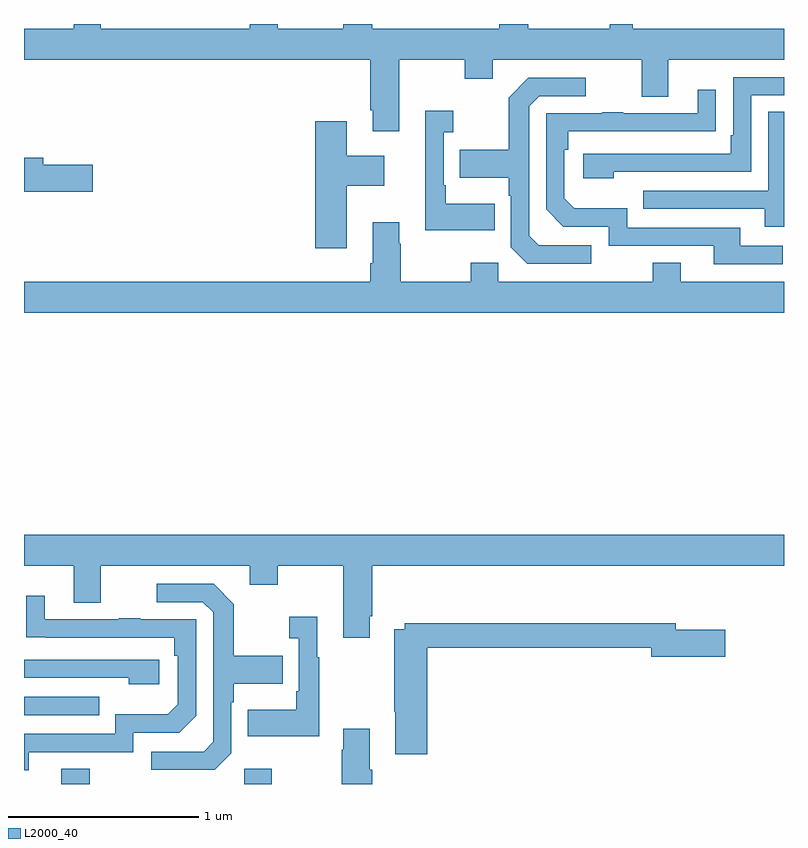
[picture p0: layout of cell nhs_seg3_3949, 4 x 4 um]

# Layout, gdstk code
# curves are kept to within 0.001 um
import gdstk
lib = gdstk.Library(unit=1e-6, precision=1e-09)
def R(c, l, rs):  # rectangles x0, y0, x1, y1
    for r in rs: c.add(gdstk.rectangle(r[:2], r[2:], *l))
def P(c, l, *ps):  # polygons
    for p in ps: c.add(gdstk.Polygon(p, *l))
L2000_40 = (2000, 40)

nhs_seg3_3949 = lib.new_cell('nhs_seg3_3949')
R(nhs_seg3_3949, L2000_40, [(315.197,734.4,315.345,734.479), (316.158,734.4,316.305,734.479), (315,734.763,315.395,734.859)])
P(nhs_seg3_3949, L2000_40, [(316.975,738.212),(317.32,738.212),(317.32,738.113),(317.467,738.113),(317.467,738.212),(318.251,738.212),(318.251,738.018),(318.391,738.018),(318.391,738.212),(319,738.212),(319,738.376),(318.205,738.376),(318.205,738.4),(318.083,738.4),(318.083,738.376),(317.653,738.376),(317.653,738.4),(317.501,738.4),(317.501,738.376),(316.832,738.376),(316.832,738.4),(316.679,738.4),(316.679,738.376),(316.335,738.376),(316.335,738.4),(316.187,738.4),(316.187,738.376),(315.403,738.376),(315.403,738.4),(315.263,738.4),(315.263,738.376),(315,738.376),(315,738.212),(316.823,738.212),(316.823,737.947),(316.835,737.947),(316.835,737.835),(316.975,737.835)],
  [(318.104,737.622),(318.828,737.622),(318.828,738.024),(319,738.024),(319,738.12),(318.732,738.12),(318.732,737.815),(318.719,737.815),(318.719,737.718),(317.943,737.718),(317.943,737.588),(318.104,737.588)],
  [(317.986,737.235),(317.709,737.235),(317.658,737.286),(317.658,737.967),(317.712,738.021),(317.956,738.021),(317.956,738.117),(317.655,738.117),(317.55,738.011),(317.55,737.739),(317.293,737.739),(317.293,737.591),(317.55,737.591),(317.55,737.495),(317.562,737.495),(317.562,737.226),(317.649,737.139),(317.986,737.139)],
  [(318.994,737.232),(318.769,737.232),(318.769,737.328),(318.174,737.328),(318.174,737.431),(317.897,737.431),(317.844,737.484),(317.844,737.738),(317.864,737.738),(317.864,737.835),(318.641,737.836),(318.641,738.055),(318.545,738.055),(318.545,737.931),(318.155,737.931),(318.155,737.936),(318.043,737.936),(318.043,737.931),(317.748,737.931),(317.748,737.424),(317.838,737.334),(318.078,737.334),(318.078,737.232),(318.629,737.232),(318.629,737.136),(318.994,737.136)],
  [(317.477,737.455),(317.221,737.455),(317.221,737.551),(317.208,737.551),(317.208,737.831),(317.26,737.831),(317.26,737.944),(317.111,737.944),(317.111,737.315),(317.477,737.315)],
  [(319,737.939),(318.918,737.939),(318.918,737.523),(318.259,737.523),(318.259,737.427),(318.899,737.427),(318.899,737.333),(319,737.333)],
  [(316.699,737.549),(316.897,737.549),(316.897,737.707),(316.699,737.707),(316.699,737.887),(316.532,737.887),(316.532,737.22),(316.699,737.22)],
  [(315.361,737.66),(315.1,737.66),(315.1,737.696),(315,737.696),(315,737.518),(315.361,737.518)],
  [(319,737.044),(318.457,737.044),(318.457,737.143),(318.31,737.143),(318.31,737.044),(317.496,737.044),(317.496,737.143),(317.35,737.143),(317.35,737.044),(316.983,737.044),(316.983,737.243),(316.975,737.243),(316.975,737.356),(316.835,737.356),(316.835,737.14),(316.823,737.14),(316.823,737.044),(315,737.044),(315,736.88),(319,736.88)],
  [(316.819,735.283),(316.832,735.283),(316.832,735.548),(319,735.548),(319,735.712),(315,735.712),(315,735.548),(315.263,735.548),(315.263,735.354),(315.403,735.354),(315.403,735.548),(316.187,735.548),(316.187,735.449),(316.335,735.449),(316.335,735.548),(316.679,735.548),(316.679,735.171),(316.819,735.171)],
  [(316.092,734.562),(316.092,734.831),(316.105,734.831),(316.105,734.927),(316.361,734.927),(316.361,735.075),(316.105,735.075),(316.105,735.347),(315.999,735.453),(315.699,735.453),(315.699,735.357),(315.942,735.357),(315.996,735.303),(315.996,734.622),(315.945,734.571),(315.669,734.571),(315.669,734.475),(316.005,734.475)],
  [(315.025,734.568),(315.576,734.568),(315.576,734.67),(315.816,734.67),(315.906,734.76),(315.906,735.267),(315.611,735.267),(315.611,735.272),(315.499,735.272),(315.499,735.267),(315.109,735.267),(315.109,735.391),(315.013,735.391),(315.013,735.172),(315.79,735.171),(315.79,735.074),(315.81,735.074),(315.81,734.82),(315.757,734.767),(315.48,734.767),(315.48,734.664),(315,734.664),(315,734.472),(315.025,734.472)],
  [(316.555,735.067),(316.543,735.067),(316.543,735.28),(316.395,735.28),(316.395,735.167),(316.446,735.167),(316.446,734.887),(316.434,734.887),(316.434,734.791),(316.177,734.791),(316.177,734.651),(316.555,734.651)],
  [(317.123,735.118),(318.302,735.118),(318.302,735.071),(318.691,735.071),(318.691,735.213),(318.43,735.213),(318.43,735.247),(317.004,735.247),(317.004,735.214),(316.948,735.214),(316.948,734.779),(316.955,734.779),(316.955,734.556),(317.123,734.556)],
  [(315.712,735.054),(315,735.054),(315,734.958),(315.551,734.958),(315.551,734.924),(315.712,734.924)],
  [(316.832,734.476),(316.819,734.476),(316.819,734.692),(316.679,734.692),(316.679,734.579),(316.672,734.579),(316.672,734.4),(316.832,734.4)])

lib.write_gds('nhs_seg3_3949.gds')
